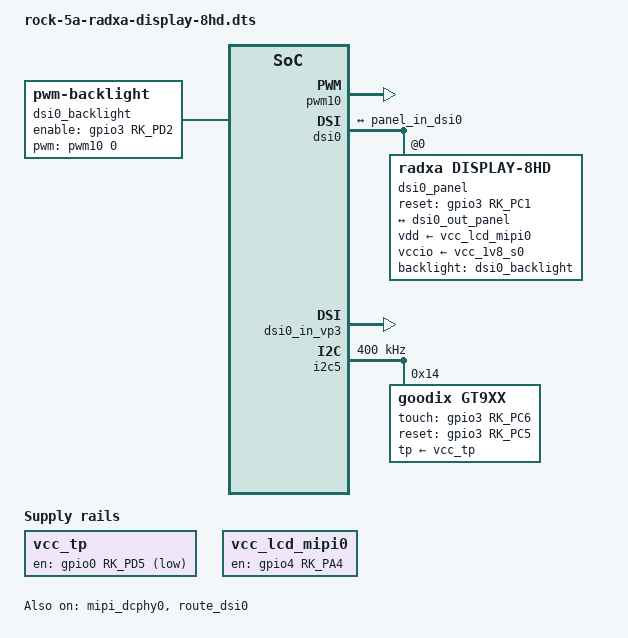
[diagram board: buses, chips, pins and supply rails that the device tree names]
/dts-v1/;
/plugin/;

#include <dt-bindings/interrupt-controller/irq.h>
#include <dt-bindings/gpio/gpio.h>
#include <dt-bindings/pinctrl/rockchip.h>
#include <dt-bindings/pwm/pwm.h>

/ {
	metadata {
		title ="Enable Radxa Display 8HD";
		compatible = "radxa,rock-5a", "radxa,rock-5c";
		category = "display";
		exclusive = "dsi0";
		description = "Enable Radxa Display 8HD.";
	};
};

&{/} {
	vcc_tp: vcc-tp {
		status = "okay";
		compatible = "regulator-fixed";
		regulator-name = "vcc_tp";
		gpio = <&gpio0 RK_PD5 GPIO_ACTIVE_LOW>;
		enable-active-low;
		regulator-boot-on;
		regulator-always-on;
	};

	vcc_lcd_mipi0: vcc-lcd-mipi0 {
		status = "okay";
		compatible = "regulator-fixed";
		regulator-name = "vcc_lcd_mipi0";
		gpio = <&gpio4 RK_PA4 GPIO_ACTIVE_HIGH>;
		enable-active-high;
		regulator-boot-on;
		regulator-state-mem {
			regulator-off-in-suspend;
		};
	};

	dsi0_backlight: dsi0-backlight {
		status = "okay";
		compatible = "pwm-backlight";
		pwms = <&pwm10 0 25000 PWM_POLARITY_INVERTED>;
		brightness-levels = <
			0  20  20  21  21  22  22  23
			23  24  24  25  25  26  26  27
			27  28  28  29  29  30  30  31
			31  32  32  33  33  34  34  35
			35  36  36  37  37  38  38  39
			40  41  42  43  44  45  46  47
			48  49  50  51  52  53  54  55
			56  57  58  59  60  61  62  63
			64  65  66  67  68  69  70  71
			72  73  74  75  76  77  78  79
			80  81  82  83  84  85  86  87
			88  89  90  91  92  93  94  95
			96  97  98  99 100 101 102 103
			104 105 106 107 108 109 110 111
			112 113 114 115 116 117 118 119
			120 121 122 123 124 125 126 127
			128 129 130 131 132 133 134 135
			136 137 138 139 140 141 142 143
			144 145 146 147 148 149 150 151
			152 153 154 155 156 157 158 159
			160 161 162 163 164 165 166 167
			168 169 170 171 172 173 174 175
			176 177 178 179 180 181 182 183
			184 185 186 187 188 189 190 191
			192 193 194 195 196 197 198 199
			200 201 202 203 204 205 206 207
			208 209 210 211 212 213 214 215
			216 217 218 219 220 221 222 223
			224 225 226 227 228 229 230 231
			232 233 234 235 236 237 238 239
			240 241 242 243 244 245 246 247
			248 249 250 251 252 253 254 255
		>;
		default-brightness-level = <200>;
		enable-gpios = <&gpio3 RK_PD2 GPIO_ACTIVE_HIGH>;
		pinctrl-names = "default";
		pinctrl-0 = <&dsi0_backlight_en>;
	};
};

&pwm10 {
	status = "okay";
	pinctrl-names = "active";
	pinctrl-0 = <&pwm10m2_pins>;
};

&dsi0 {
	status = "okay";
	rockchip,lane-rate = <480>;
	#address-cells = <1>;
	#size-cells = <0>;

	dsi0_panel: panel@0 {
		status = "okay";
		compatible ="radxa,display-8hd";
		reg = <0>;
		backlight = <&dsi0_backlight>;

		vdd-supply = <&vcc_lcd_mipi0>;
		vccio-supply = <&vcc_1v8_s0>;
		reset-gpios = <&gpio3 RK_PC1 GPIO_ACTIVE_HIGH>;
		pinctrl-names = "default";
		pinctrl-0 = <&dsi0_lcd_rst_gpio>;

		ports {
			#address-cells = <1>;
			#size-cells = <0>;

			port@0 {
				reg = <0>;
				panel_in_dsi0: endpoint {
					remote-endpoint = <&dsi0_out_panel>;
				};
			};
		};
	};

	ports {
		#address-cells = <1>;
		#size-cells = <0>;

		port@1 {
			reg = <1>;
			dsi0_out_panel: endpoint {
				remote-endpoint = <&panel_in_dsi0>;
			};
		};
	};
};

&mipi_dcphy0 {
	status = "okay";
};

&route_dsi0 {
	status = "okay";
	connect = <&vp3_out_dsi0>;
};

&dsi0_in_vp2 {
	status = "disabled";
};

&dsi0_in_vp3 {
	status = "okay";
};

&i2c5 {
	status = "okay";
	pinctrl-names = "default";
	pinctrl-0 = <&i2c5m2_xfer>;
	clock-frequency = <400000>;
	#address-cells = <1>;
	#size-cells = <0>;

	gt9xx: gt9xx@14 {
		status = "okay";
		compatible = "goodix,gt9xx";
		reg = <0x14>;
		pinctrl-names = "default";
		pinctrl-0 = <&gt9xx_gpio>;
		touch-gpio = <&gpio3 RK_PC6 IRQ_TYPE_LEVEL_HIGH>;
		reset-gpio = <&gpio3 RK_PC5 GPIO_ACTIVE_HIGH>;
		max-x = <800>;
		max-y = <1280>;
		tp-size = <9112>;
		tp-supply = <&vcc_tp>;
	};
};

&pinctrl {
	dsi0-lcd {
		dsi0_lcd_rst_gpio: dsi0-lcd-rst-gpio {
			rockchip,pins = <3 RK_PC1 RK_FUNC_GPIO &pcfg_pull_up>;
		};

		dsi0_backlight_en: dsi0-backlight-en {
			rockchip,pins = <3 RK_PD2 RK_FUNC_GPIO &pcfg_pull_up>;
		};
	};

	gt9xx {
		gt9xx_gpio: gt9xx-gpio {
			rockchip,pins =
				<3 RK_PC5 RK_FUNC_GPIO &pcfg_pull_none>,
				<3 RK_PC6 RK_FUNC_GPIO &pcfg_pull_up>;
		};
	};
};
